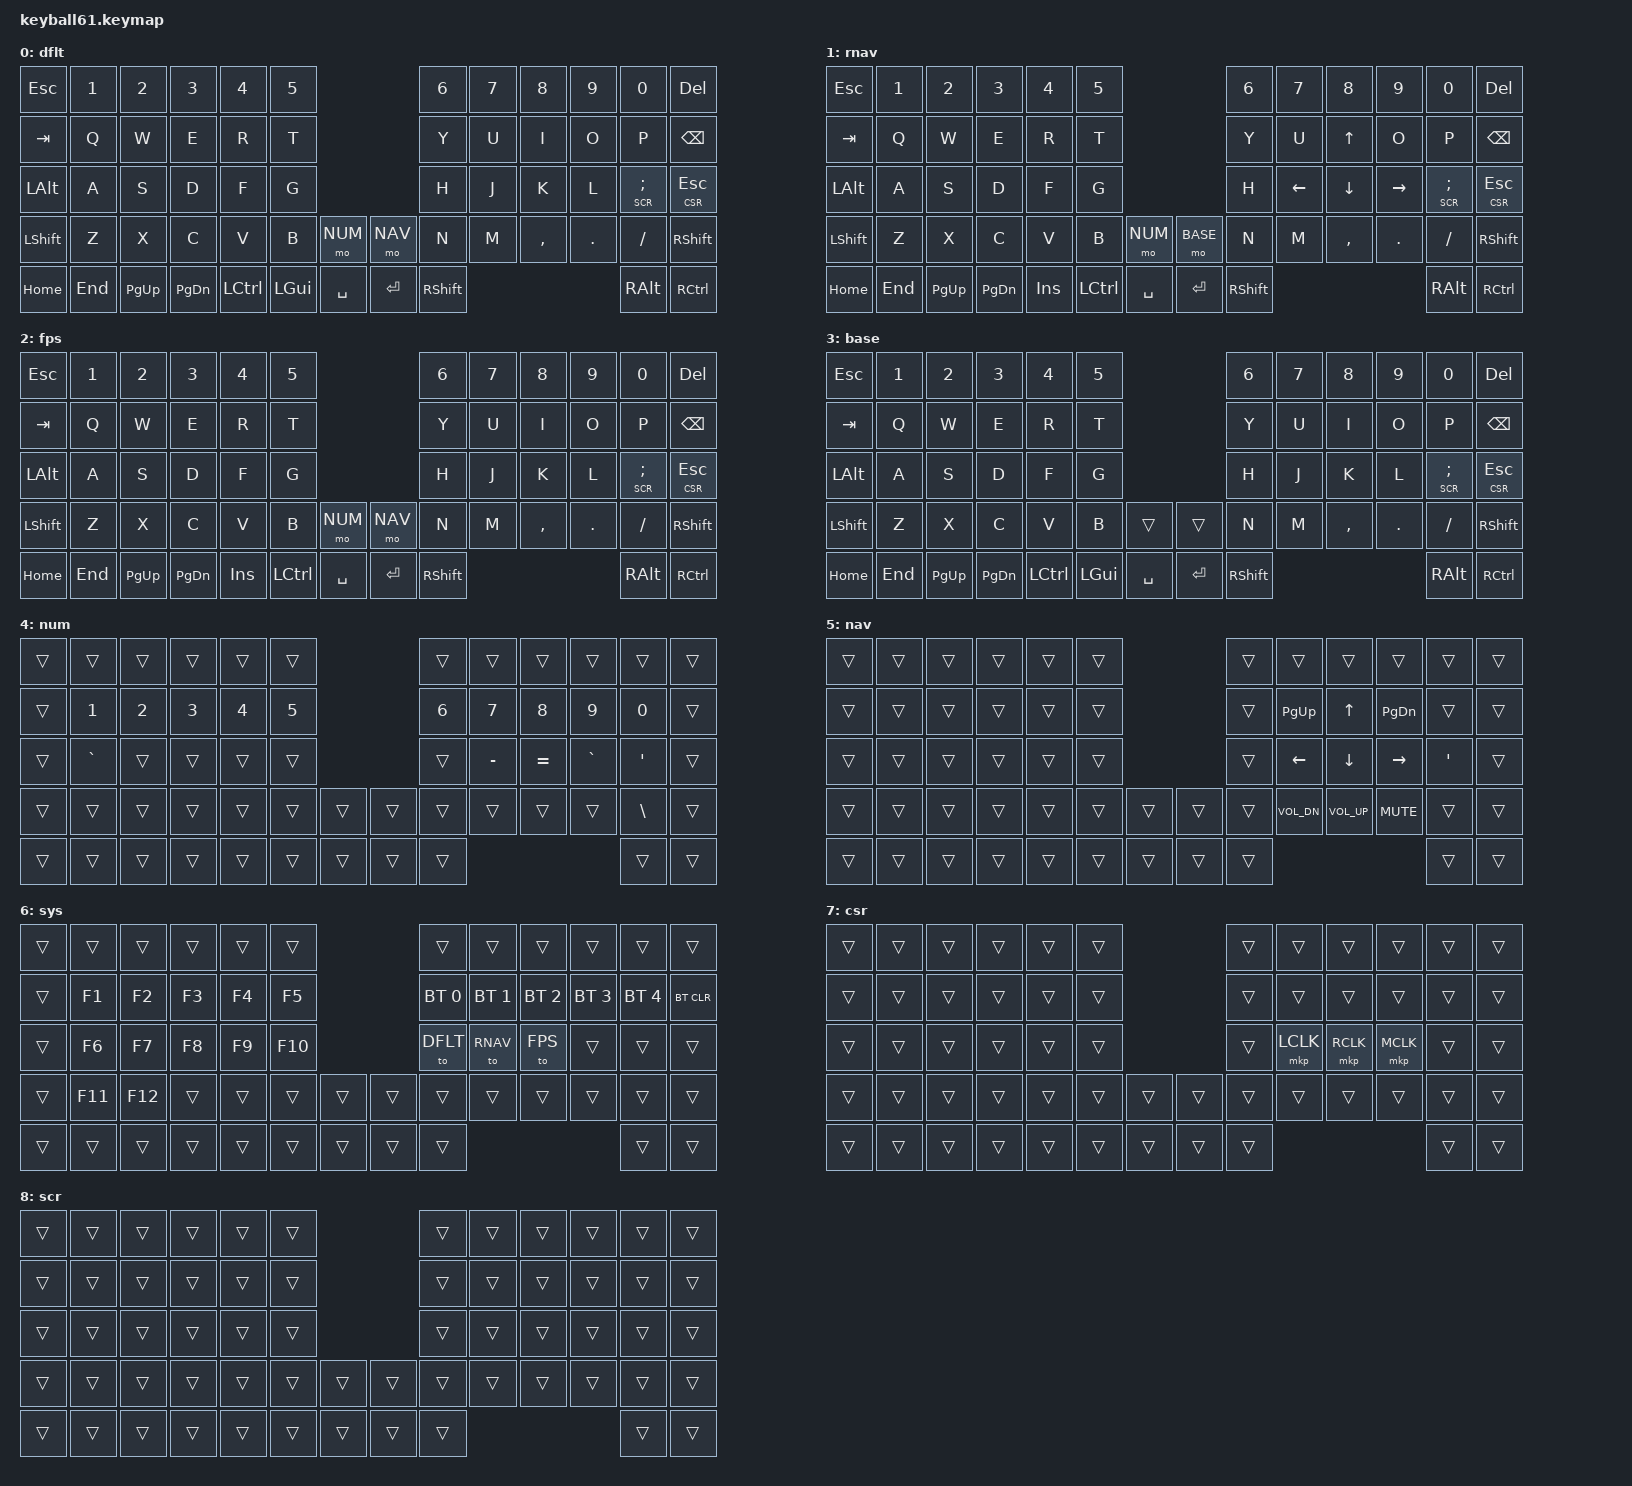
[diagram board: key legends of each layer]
#include <behaviors/mouse_keys.dtsi>
#include <behaviors.dtsi>
#include <dt-bindings/zmk/bt.h>
#include <dt-bindings/zmk/keys.h>
#include <dt-bindings/zmk/mouse.h>


// higher number layers take precedence / override below
#define DFLT 0

// task specific layers
#define RNAV 1
#define FPS  2

// base layers which should always be accessible (i.e. num, nav, sys)
#define BASE 3 // same as DFLT except for thumbs, used to override DFLT keys onto custom layers
#define NUM  4 // numbers layer - numbers, symbols, function keys
#define NAV  5 // navigation layer - arrow keys, media controls
#define SYS  6 // system layer - toggle layer, bt controls
#define CSR  7 // cursor layer
#define SCR  8 // scroll layer

&lt {
    tapping-term-ms = <240>;
    flavor = "balanced";
    quick-tap-ms = <150>;
};

&mt {
    tapping-term-ms = <200>;
    flavor = "tap-preferred";
    quick-tap-ms = <150>;
};



/ {
    conditional_layers {
        compatible = "zmk,conditional-layers";

        // num + nav = sys
        num_nav_sys_layer {
            if-layers = <NUM NAV>;
            then-layer = <SYS>;
        };

        // num + base = sys
        num_base_sys_layer {
            if-layers = <NUM BASE>;
            then-layer = <SYS>;
        };
    };

    combos {
            compatible = "zmk,combos";

        // pbkps = DEL
        del {
            timeout-ms = <50>;
            key-positions = <22 23>;
            bindings = <&kp DEL>;
        };

        // io = (
        lpar {
            timeout-ms = <50>;
            key-positions = <20 21>;
            bindings = <&kp LPAR>;
        };
        // op = )
        rpar {
            timeout-ms = <50>;
            key-positions = <21 22>;
            bindings = <&kp RPAR>;
        };

        // kl = [
        lbkt {
            timeout-ms = <50>;
            key-positions = <32 33>;
            bindings = <&kp LBKT>;
        };
        // l; = ]
        rbkt {
            timeout-ms = <50>;
            key-positions = <33 34>;
            bindings = <&kp RBKT>;
        };

        // ,. = {
        lbrc {
            timeout-ms = <50>;
            key-positions = <46 47>;
            bindings = <&kp LBRC>;
        };
        // ./ = }
        rbrc {
            timeout-ms = <50>;
            key-positions = <47 48>;
            bindings = <&kp RBRC>;
        };

    };

    keymap {
        compatible = "zmk,keymap";

        dflt {
            label = "dflt";
            bindings = <
//    ┌──────┬─────┬──────┬──────┬──────┬──────┐                     ┌──────┬───┬───┬───┬──────────┬────────────┐
//    │ esc  │  1  │  2   │  3   │  4   │  5   │                     │  6   │ 7 │ 8 │ 9 │    0     │    del     │
//    ├──────┼─────┼──────┼──────┼──────┼──────┤                     ├──────┼───┼───┼───┼──────────┼────────────┤
//    │ tab  │  Q  │  W   │  E   │  R   │  T   │                     │  Y   │ U │ I │ O │    P     │    bspc    │
//    ├──────┼─────┼──────┼──────┼──────┼──────┤                     ├──────┼───┼───┼───┼──────────┼────────────┤
//    │ lalt │  A  │  S   │  D   │  F   │  G   │                     │  H   │ J │ K │ L │ lt SCR ; │ lt CSR esc │
//    ├──────┼─────┼──────┼──────┼──────┼──────┼────────┐   ┌────────┼──────┼───┼───┼───┼──────────┼────────────┤
//    │ lsft │  Z  │  X   │  C   │  V   │  B   │ mo NUM │   │ mo NAV │  N   │ M │ , │ . │    /     │    rsft    │
//    ├──────┼─────┼──────┼──────┼──────┼──────┼────────┤   ├────────┼──────┼───┴───┴───┼──────────┼────────────┤
//    │ home │ end │ pgup │ pgdn │ lctl │ lgui │  spc   │   │  ent   │ rsft │           │   ralt   │    rctl    │
//    └──────┴─────┴──────┴──────┴──────┴──────┴────────┘   └────────┴──────┘           └──────────┴────────────┘
  &kp ESC      &kp N1    &kp N2      &kp N3      &kp N4      &kp N5                               &kp N6      &kp N7   &kp N8      &kp N9    &kp N0         &kp DEL
  &kp TAB      &kp Q     &kp W       &kp E       &kp R       &kp T                                &kp Y       &kp U    &kp I       &kp O     &kp P          &kp BSPC
  &kp LALT     &kp A     &kp S       &kp D       &kp F       &kp G                                &kp H       &kp J    &kp K       &kp L     &lt SCR SEMI   &lt CSR ESC
  &kp LSHIFT   &kp Z     &kp X       &kp C       &kp V       &kp B      &mo NUM         &mo NAV   &kp N       &kp M    &kp COMMA   &kp DOT   &kp FSLH       &kp RSHIFT
  &kp HOME     &kp END   &kp PG_UP   &kp PG_DN   &kp LCTRL   &kp LGUI   &kp SPACE       &kp RET   &kp RSHFT                                  &kp RALT       &kp RCTRL
            >;
        };


        // task layers


        rnav {
            label = "rnav";
            bindings = <
//    ┌──────┬─────┬──────┬──────┬─────┬──────┐                      ┌──────┬──────┬──────┬──────┬──────────┬────────────┐
//    │ esc  │  1  │  2   │  3   │  4  │  5   │                      │  6   │  7   │  8   │  9   │    0     │    del     │
//    ├──────┼─────┼──────┼──────┼─────┼──────┤                      ├──────┼──────┼──────┼──────┼──────────┼────────────┤
//    │ tab  │  Q  │  W   │  E   │  R  │  T   │                      │  Y   │  U   │  up  │  O   │    P     │    bspc    │
//    ├──────┼─────┼──────┼──────┼─────┼──────┤                      ├──────┼──────┼──────┼──────┼──────────┼────────────┤
//    │ lalt │  A  │  S   │  D   │  F  │  G   │                      │  H   │ left │ down │ rght │ lt SCR ; │ lt CSR esc │
//    ├──────┼─────┼──────┼──────┼─────┼──────┼────────┐   ┌─────────┼──────┼──────┼──────┼──────┼──────────┼────────────┤
//    │ lsft │  Z  │  X   │  C   │  V  │  B   │ mo NUM │   │ mo BASE │  N   │  M   │  ,   │  .   │    /     │    rsft    │
//    ├──────┼─────┼──────┼──────┼─────┼──────┼────────┤   ├─────────┼──────┼──────┴──────┴──────┼──────────┼────────────┤
//    │ home │ end │ pgup │ pgdn │ ins │ lctl │  spc   │   │   ent   │ rsft │                    │   ralt   │    rctl    │
//    └──────┴─────┴──────┴──────┴─────┴──────┴────────┘   └─────────┴──────┘                    └──────────┴────────────┘
  &kp ESC      &kp N1    &kp N2      &kp N3      &kp N4    &kp N5                                 &kp N6      &kp N7     &kp N8      &kp N9      &kp N0         &kp DEL
  &kp TAB      &kp Q     &kp W       &kp E       &kp R     &kp T                                  &kp Y       &kp U      &kp UP      &kp O       &kp P          &kp BSPC
  &kp LALT     &kp A     &kp S       &kp D       &kp F     &kp G                                  &kp H       &kp LEFT   &kp DOWN    &kp RIGHT   &lt SCR SEMI   &lt CSR ESC
  &kp LSHIFT   &kp Z     &kp X       &kp C       &kp V     &kp B       &mo NUM         &mo BASE   &kp N       &kp M      &kp COMMA   &kp DOT     &kp FSLH       &kp RSHIFT
  &kp HOME     &kp END   &kp PG_UP   &kp PG_DN   &kp INS   &kp LCTRL   &kp SPACE       &kp RET    &kp RSHFT                                      &kp RALT       &kp RCTRL
            >;
        };

        fps {
            label = "fps";
            bindings = <
//    ┌──────┬─────┬──────┬──────┬─────┬──────┐                     ┌──────┬───┬───┬───┬──────────┬────────────┐
//    │ esc  │  1  │  2   │  3   │  4  │  5   │                     │  6   │ 7 │ 8 │ 9 │    0     │    del     │
//    ├──────┼─────┼──────┼──────┼─────┼──────┤                     ├──────┼───┼───┼───┼──────────┼────────────┤
//    │ tab  │  Q  │  W   │  E   │  R  │  T   │                     │  Y   │ U │ I │ O │    P     │    bspc    │
//    ├──────┼─────┼──────┼──────┼─────┼──────┤                     ├──────┼───┼───┼───┼──────────┼────────────┤
//    │ lalt │  A  │  S   │  D   │  F  │  G   │                     │  H   │ J │ K │ L │ lt SCR ; │ lt CSR esc │
//    ├──────┼─────┼──────┼──────┼─────┼──────┼────────┐   ┌────────┼──────┼───┼───┼───┼──────────┼────────────┤
//    │ lsft │  Z  │  X   │  C   │  V  │  B   │ mo NUM │   │ mo NAV │  N   │ M │ , │ . │    /     │    rsft    │
//    ├──────┼─────┼──────┼──────┼─────┼──────┼────────┤   ├────────┼──────┼───┴───┴───┼──────────┼────────────┤
//    │ home │ end │ pgup │ pgdn │ ins │ lctl │  spc   │   │  ent   │ rsft │           │   ralt   │    rctl    │
//    └──────┴─────┴──────┴──────┴─────┴──────┴────────┘   └────────┴──────┘           └──────────┴────────────┘
  &kp ESC      &kp N1    &kp N2      &kp N3      &kp N4    &kp N5                                &kp N6      &kp N7   &kp N8      &kp N9    &kp N0         &kp DEL
  &kp TAB      &kp Q     &kp W       &kp E       &kp R     &kp T                                 &kp Y       &kp U    &kp I       &kp O     &kp P          &kp BSPC
  &kp LALT     &kp A     &kp S       &kp D       &kp F     &kp G                                 &kp H       &kp J    &kp K       &kp L     &lt SCR SEMI   &lt CSR ESC
  &kp LSHIFT   &kp Z     &kp X       &kp C       &kp V     &kp B       &mo NUM         &mo NAV   &kp N       &kp M    &kp COMMA   &kp DOT   &kp FSLH       &kp RSHIFT
  &kp HOME     &kp END   &kp PG_UP   &kp PG_DN   &kp INS   &kp LCTRL   &kp SPACE       &kp RET   &kp RSHFT                                  &kp RALT       &kp RCTRL
            >;
        };


        // base layers

        base {
            label = "base";
            bindings = <
//    ┌──────┬─────┬──────┬──────┬──────┬──────┐               ┌──────┬───┬───┬───┬──────────┬────────────┐
//    │ esc  │  1  │  2   │  3   │  4   │  5   │               │  6   │ 7 │ 8 │ 9 │    0     │    del     │
//    ├──────┼─────┼──────┼──────┼──────┼──────┤               ├──────┼───┼───┼───┼──────────┼────────────┤
//    │ tab  │  Q  │  W   │  E   │  R   │  T   │               │  Y   │ U │ I │ O │    P     │    bspc    │
//    ├──────┼─────┼──────┼──────┼──────┼──────┤               ├──────┼───┼───┼───┼──────────┼────────────┤
//    │ lalt │  A  │  S   │  D   │  F   │  G   │               │  H   │ J │ K │ L │ lt SCR ; │ lt CSR esc │
//    ├──────┼─────┼──────┼──────┼──────┼──────┼─────┐   ┌─────┼──────┼───┼───┼───┼──────────┼────────────┤
//    │ lsft │  Z  │  X   │  C   │  V   │  B   │     │   │     │  N   │ M │ , │ . │    /     │    rsft    │
//    ├──────┼─────┼──────┼──────┼──────┼──────┼─────┤   ├─────┼──────┼───┴───┴───┼──────────┼────────────┤
//    │ home │ end │ pgup │ pgdn │ lctl │ lgui │ spc │   │ ent │ rsft │           │   ralt   │    rctl    │
//    └──────┴─────┴──────┴──────┴──────┴──────┴─────┘   └─────┴──────┘           └──────────┴────────────┘
  &kp ESC      &kp N1    &kp N2      &kp N3      &kp N4      &kp N5                               &kp N6      &kp N7   &kp N8      &kp N9    &kp N0         &kp DEL
  &kp TAB      &kp Q     &kp W       &kp E       &kp R       &kp T                                &kp Y       &kp U    &kp I       &kp O     &kp P          &kp BSPC
  &kp LALT     &kp A     &kp S       &kp D       &kp F       &kp G                                &kp H       &kp J    &kp K       &kp L     &lt SCR SEMI   &lt CSR ESC
  &kp LSHIFT   &kp Z     &kp X       &kp C       &kp V       &kp B      &trans          &trans    &kp N       &kp M    &kp COMMA   &kp DOT   &kp FSLH       &kp RSHIFT
  &kp HOME     &kp END   &kp PG_UP   &kp PG_DN   &kp LCTRL   &kp LGUI   &kp SPACE       &kp RET   &kp RSHFT                                  &kp RALT       &kp RCTRL
            >;
        };

        num {
            label = "num";
            bindings = <
//    ┌─────┬─────┬─────┬─────┬─────┬─────┐               ┌─────┬─────┬─────┬─────┬─────┬─────┐
//    │     │     │     │     │     │     │               │     │     │     │     │     │     │
//    ├─────┼─────┼─────┼─────┼─────┼─────┤               ├─────┼─────┼─────┼─────┼─────┼─────┤
//    │     │  1  │  2  │  3  │  4  │  5  │               │  6  │  7  │  8  │  9  │  0  │     │
//    ├─────┼─────┼─────┼─────┼─────┼─────┤               ├─────┼─────┼─────┼─────┼─────┼─────┤
//    │     │  `  │     │     │     │     │               │     │  -  │  =  │  `  │  '  │     │
//    ├─────┼─────┼─────┼─────┼─────┼─────┼─────┐   ┌─────┼─────┼─────┼─────┼─────┼─────┼─────┤
//    │     │     │     │     │     │     │     │   │     │     │     │     │     │  \  │     │
//    ├─────┼─────┼─────┼─────┼─────┼─────┼─────┤   ├─────┼─────┼─────┴─────┴─────┼─────┼─────┤
//    │     │     │     │     │     │     │     │   │     │     │                 │     │     │
//    └─────┴─────┴─────┴─────┴─────┴─────┴─────┘   └─────┴─────┘                 └─────┴─────┘
  &trans   &trans      &trans   &trans   &trans   &trans                         &trans   &trans      &trans      &trans      &trans     &trans
  &trans   &kp N1      &kp N2   &kp N3   &kp N4   &kp N5                         &kp N6   &kp N7      &kp N8      &kp N9      &kp N0     &trans
  &trans   &kp GRAVE   &trans   &trans   &trans   &trans                         &trans   &kp MINUS   &kp EQUAL   &kp GRAVE   &kp SQT    &trans
  &trans   &trans      &trans   &trans   &trans   &trans   &trans       &trans   &trans   &trans      &trans      &trans      &kp BSLH   &trans
  &trans   &trans      &trans   &trans   &trans   &trans   &trans       &trans   &trans                                       &trans     &trans
            >;
        };

        nav {
            label = "nav";
            bindings = <
//    ┌─────┬─────┬─────┬─────┬─────┬─────┐               ┌─────┬──────┬──────┬──────┬─────┬─────┐
//    │     │     │     │     │     │     │               │     │      │      │      │     │     │
//    ├─────┼─────┼─────┼─────┼─────┼─────┤               ├─────┼──────┼──────┼──────┼─────┼─────┤
//    │     │     │     │     │     │     │               │     │ pgup │  up  │ pgdn │     │     │
//    ├─────┼─────┼─────┼─────┼─────┼─────┤               ├─────┼──────┼──────┼──────┼─────┼─────┤
//    │     │     │     │     │     │     │               │     │ left │ down │ rght │  '  │     │
//    ├─────┼─────┼─────┼─────┼─────┼─────┼─────┐   ┌─────┼─────┼──────┼──────┼──────┼─────┼─────┤
//    │     │     │     │     │     │     │     │   │     │     │ vold │ volu │ mute │     │     │
//    ├─────┼─────┼─────┼─────┼─────┼─────┼─────┤   ├─────┼─────┼──────┴──────┴──────┼─────┼─────┤
//    │     │     │     │     │     │     │     │   │     │     │                    │     │     │
//    └─────┴─────┴─────┴─────┴─────┴─────┴─────┘   └─────┴─────┘                    └─────┴─────┘
  &trans   &trans   &trans   &trans   &trans   &trans                         &trans   &trans         &trans         &trans       &trans    &trans
  &trans   &trans   &trans   &trans   &trans   &trans                         &trans   &kp PG_UP      &kp UP         &kp PG_DN    &trans    &trans
  &trans   &trans   &trans   &trans   &trans   &trans                         &trans   &kp LEFT       &kp DOWN       &kp RIGHT    &kp SQT   &trans
  &trans   &trans   &trans   &trans   &trans   &trans   &trans       &trans   &trans   &kp C_VOL_DN   &kp C_VOL_UP   &kp C_MUTE   &trans    &trans
  &trans   &trans   &trans   &trans   &trans   &trans   &trans       &trans   &trans                                              &trans    &trans
            >;
        };

        sys {
            label = "sys";
            bindings = <
//    ┌─────┬─────┬─────┬─────┬─────┬─────┐               ┌──────────┬──────────┬──────────┬──────────┬──────────┬────────┐
//    │     │     │     │     │     │     │               │          │          │          │          │          │        │
//    ├─────┼─────┼─────┼─────┼─────┼─────┤               ├──────────┼──────────┼──────────┼──────────┼──────────┼────────┤
//    │     │ f1  │ f2  │ f3  │ f4  │ f5  │               │ bt_sel 0 │ bt_sel 1 │ bt_sel 2 │ bt_sel 3 │ bt_sel 4 │ bt_clr │
//    ├─────┼─────┼─────┼─────┼─────┼─────┤               ├──────────┼──────────┼──────────┼──────────┼──────────┼────────┤
//    │     │ f6  │ f7  │ f8  │ f9  │ f10 │               │  to DF<  │ to RNAV  │  to FPS  │          │          │        │
//    ├─────┼─────┼─────┼─────┼─────┼─────┼─────┐   ┌─────┼──────────┼──────────┼──────────┼──────────┼──────────┼────────┤
//    │     │ f11 │ f12 │     │     │     │     │   │     │          │          │          │          │          │        │
//    ├─────┼─────┼─────┼─────┼─────┼─────┼─────┤   ├─────┼──────────┼──────────┴──────────┴──────────┼──────────┼────────┤
//    │     │     │     │     │     │     │     │   │     │          │                                │          │        │
//    └─────┴─────┴─────┴─────┴─────┴─────┴─────┘   └─────┴──────────┘                                └──────────┴────────┘
  &trans   &trans    &trans    &trans   &trans   &trans                          &trans         &trans         &trans         &trans         &trans         &trans
  &trans   &kp F1    &kp F2    &kp F3   &kp F4   &kp F5                          &bt BT_SEL 0   &bt BT_SEL 1   &bt BT_SEL 2   &bt BT_SEL 3   &bt BT_SEL 4   &bt BT_CLR
  &trans   &kp F6    &kp F7    &kp F8   &kp F9   &kp F10                         &to DFLT       &to RNAV       &to FPS        &trans         &trans         &trans
  &trans   &kp F11   &kp F12   &trans   &trans   &trans    &trans       &trans   &trans         &trans         &trans         &trans         &trans         &trans
  &trans   &trans    &trans    &trans   &trans   &trans    &trans       &trans   &trans                                                      &trans         &trans
            >;
        };

        csr {
            label = "csr";
            bindings = <
//    ┌─────┬─────┬─────┬─────┬─────┬─────┐               ┌─────┬──────┬──────┬──────┬─────┬─────┐
//    │     │     │     │     │     │     │               │     │      │      │      │     │     │
//    ├─────┼─────┼─────┼─────┼─────┼─────┤               ├─────┼──────┼──────┼──────┼─────┼─────┤
//    │     │     │     │     │     │     │               │     │      │      │      │     │     │
//    ├─────┼─────┼─────┼─────┼─────┼─────┤               ├─────┼──────┼──────┼──────┼─────┼─────┤
//    │     │     │     │     │     │     │               │     │ lclk │ rclk │ mclk │     │     │
//    ├─────┼─────┼─────┼─────┼─────┼─────┼─────┐   ┌─────┼─────┼──────┼──────┼──────┼─────┼─────┤
//    │     │     │     │     │     │     │     │   │     │     │      │      │      │     │     │
//    ├─────┼─────┼─────┼─────┼─────┼─────┼─────┤   ├─────┼─────┼──────┴──────┴──────┼─────┼─────┤
//    │     │     │     │     │     │     │     │   │     │     │                    │     │     │
//    └─────┴─────┴─────┴─────┴─────┴─────┴─────┘   └─────┴─────┘                    └─────┴─────┘
  &trans   &trans   &trans   &trans   &trans   &trans                         &trans   &trans      &trans      &trans      &trans   &trans
  &trans   &trans   &trans   &trans   &trans   &trans                         &trans   &trans      &trans      &trans      &trans   &trans
  &trans   &trans   &trans   &trans   &trans   &trans                         &trans   &mkp LCLK   &mkp RCLK   &mkp MCLK   &trans   &trans
  &trans   &trans   &trans   &trans   &trans   &trans   &trans       &trans   &trans   &trans      &trans      &trans      &trans   &trans
  &trans   &trans   &trans   &trans   &trans   &trans   &trans       &trans   &trans                                       &trans   &trans
            >;
        };

        scr {
            label = "scr";
            bindings = <
//    ┌─────┬─────┬─────┬─────┬─────┬─────┐               ┌─────┬─────┬─────┬─────┬─────┬─────┐
//    │     │     │     │     │     │     │               │     │     │     │     │     │     │
//    ├─────┼─────┼─────┼─────┼─────┼─────┤               ├─────┼─────┼─────┼─────┼─────┼─────┤
//    │     │     │     │     │     │     │               │     │     │     │     │     │     │
//    ├─────┼─────┼─────┼─────┼─────┼─────┤               ├─────┼─────┼─────┼─────┼─────┼─────┤
//    │     │     │     │     │     │     │               │     │     │     │     │     │     │
//    ├─────┼─────┼─────┼─────┼─────┼─────┼─────┐   ┌─────┼─────┼─────┼─────┼─────┼─────┼─────┤
//    │     │     │     │     │     │     │     │   │     │     │     │     │     │     │     │
//    ├─────┼─────┼─────┼─────┼─────┼─────┼─────┤   ├─────┼─────┼─────┴─────┴─────┼─────┼─────┤
//    │     │     │     │     │     │     │     │   │     │     │                 │     │     │
//    └─────┴─────┴─────┴─────┴─────┴─────┴─────┘   └─────┴─────┘                 └─────┴─────┘
  &trans   &trans   &trans   &trans   &trans   &trans                         &trans   &trans   &trans   &trans   &trans   &trans
  &trans   &trans   &trans   &trans   &trans   &trans                         &trans   &trans   &trans   &trans   &trans   &trans
  &trans   &trans   &trans   &trans   &trans   &trans                         &trans   &trans   &trans   &trans   &trans   &trans
  &trans   &trans   &trans   &trans   &trans   &trans   &trans       &trans   &trans   &trans   &trans   &trans   &trans   &trans
  &trans   &trans   &trans   &trans   &trans   &trans   &trans       &trans   &trans                              &trans   &trans
            >;
        };
    };
};
